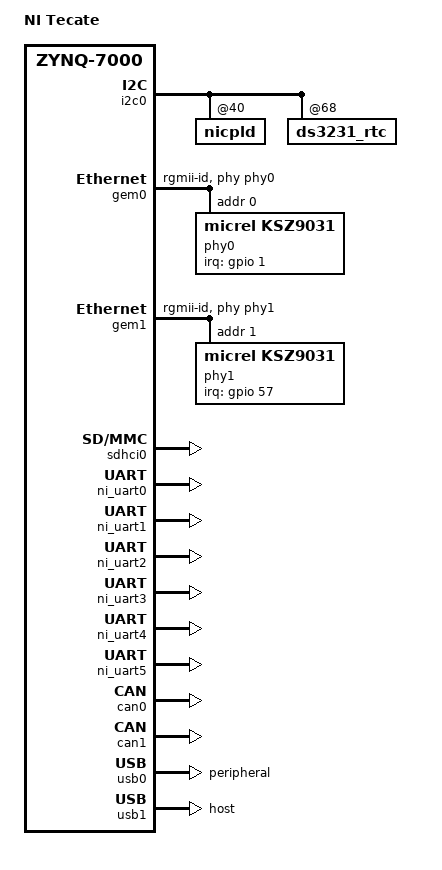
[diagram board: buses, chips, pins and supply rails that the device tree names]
/dts-v1/;
/include/ "ni-zynq.dtsi"

/* NIDEVCODE 775E */

/ {
	model = "NI Tecate";
	compatible = "ni,zynq", "xlnx,zynq-7000";

	amba {

		gpio: gpio@e000a000 {
			/* You can specify GPIO settings here:
			 *
			 *  gpioN-label      String label.
			 *  gpioN-direction  "input" or "output".
			 *  gpioN-settings   "output" - specifies the GPIO state as "high"
			 *                              or "low".
			 *                   "input"  - specifies GPIO interrupt settings as
			 *                              "none", "level-low", "level-high",
			 *                              "edge-falling", "edge-rising", or
			 *                              "edge-both".
			 */

			/* GPIO1 (MIO1) */
			gpio1-label     = "eth0_phy_interrupt";
			gpio1-direction = "input";
			gpio1-settings  = "level-low";

			/* GPIO15 (MIO15) */
			gpio15-label     = "wdt_interrupt";
			gpio15-direction = "input";
			gpio15-settings  = "edge-falling";

			/* GPIO54 (EMIO0) */
			gpio54-label     = "eth0_link_speed";
			gpio54-direction = "output";
			gpio54-settings  = "low";

			/* GPIO55 (EMIO1) */
			gpio55-label     = "eth1_link_speed_1000";
			gpio55-direction = "output";
			gpio55-settings  = "low";

			/* GPIO56 (EMIO2) */
			gpio56-label     = "eth1_link_speed_100";
			gpio56-direction = "output";
			gpio56-settings  = "low";

			/* GPIO57 (EMIO3) */
			gpio57-label     = "eth1_phy_interrupt";
			gpio57-direction = "input";
			gpio57-settings  = "level-low";
		};

		i2c0: i2c@e0004000 {
			nicpld@40 {
				watchdogs {
					boot-watchdog {
						interrupt-parent = <&gpio>;
						interrupts = <15 0>;
					};
				};

				leds {
					user1-0 {
						label = "nilrt:user1:green";
					};
					status-0 {
						label = "nilrt:status:yellow";
						max-brightness = <0xFFFF>;
					};
					eth0-0 {
						label = "nilrt:eth0:green";
						linux,default-trigger =
						  "e000b000.etherne:00:100Mb";
					};
					eth0-1 {
						label = "nilrt:eth0:yellow";
						linux,default-trigger =
						  "e000b000.etherne:00:Gb";
					};
				};
			};

			ds3231_rtc@68 {
				status = "okay";
			};
		};
	};
};

&gem0 {
	status = "okay";

	/* No fpga_clk specified because we want our FPGA clock
	 * (fclk0) to always be 125 MHz. The bootloader sets
	 * fclk0 to 125 MHz and we just leave it like that. */

	phy-handle = <&phy0>;
	phy-mode = "rgmii-id";
	#address-cells = <0x1>;
	#size-cells = <0x0>;

	cdns,emio-gpio-speed-1000 = <54>;

	phy0: phy@0 {
		compatible = "micrel,KSZ9031";
		device_type = "ethernet-phy";
		reg = <0x0>;
		/* Interrupt on GPIO1. */
		interrupts = <1 0>;
		interrupt-parent = <&gpio>;
	};
};

&gem1 {
	status = "okay";

	/* No fpga_clk specified because we want our FPGA clock (fclk0) to
	 * always be 125 MHz. The bootloader sets fclk0 to 125 MHz and we just
	 * leave it like that. */

	phy-handle = <&phy1>;
	phy-mode = "rgmii-id";
	#address-cells = <0x1>;
	#size-cells = <0x0>;

	cdns,emio-gpio-speed-1000 = <55>;
	cdns,emio-gpio-speed-100 = <56>;

	phy1: phy@1 {
		compatible = "micrel,KSZ9031";
		device_type = "ethernet-phy";
		reg = <0x1>;
		/* Interrupt on GPIO57. */
		interrupts = <57 0>;
		interrupt-parent = <&gpio>;
	};
};

&sdhci0 {
	status = "okay";
};

&ni_uart0 {
	status = "okay";
	transceiver = "RS-232";
};

&ni_uart1 {
	status = "okay";
	transceiver = "RS-232";
};

&ni_uart2 {
	status = "okay";
	transceiver = "RS-232";
};

&ni_uart3 {
	status = "okay";
	transceiver = "RS-232";
};

&ni_uart4 {
	status = "okay";
	transceiver = "RS-485";
};

&ni_uart5 {
	status = "okay";
	transceiver = "RS-485";
};

&can0 {
	status = "okay";
};

&can1 {
	status = "okay";
};

&usb0 {
	status = "okay";
	dr_mode = "peripheral";
};

&usb1 {
	status = "okay";
	dr_mode = "host";
};

&clkc {
	/* Enable fclk0 for eth0 and eth1, fclk1 for serial. */
	fclk-enable = <0x3>;
};
